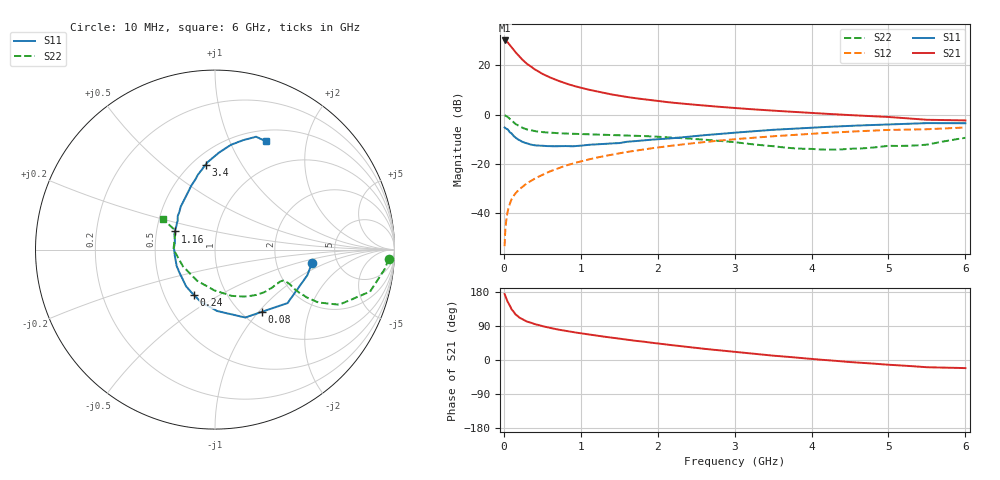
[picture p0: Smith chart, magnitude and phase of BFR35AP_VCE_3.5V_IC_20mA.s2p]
! Infineon Technologies  Discrete & RF Semiconductors
! BFR35AP
! VCE =  3.5 V,  IC =  20 mA
! Common Emitter S-Parameters:  Nov 2015
# GHz  S  MA  R  50
!  f  S11  S21  S12  S22
! GHz  MAG  ANG  MAG  ANG  MAG  ANG  MAG  ANG
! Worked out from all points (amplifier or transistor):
!   210 points, 10 MHz to 6 GHz, reference 50 ohm
!   highest |S21| = 30.1 dB at 10 MHz (marker M1)
!   |S21| within 3 dB of that: start of sweep to 107.9 MHz
!   unconditionally stable (mu >= 1): 391 MHz to 3.104 GHz
!   at 185 MHz: K = 0.74, MSG = 27.6 dB, |S12| = -30.9 dB
!   at 1.52 GHz: K = 1.11, MAG = 9.6 dB, |S12| = -15.7 dB
!   at 6 GHz: K = 0.95, MSG = 1.4 dB, |S12| = -5.3 dB
!   S11 on the Smith chart (normalised r, x): 10 MHz: 3.24, -0.68; 80 MHz: 1.22, -1.04; 240 MHz: 0.70, -0.39; 1.16 GHz: 0.62, +0.13; 3.4 GHz: 0.58, +0.71; 6 GHz: 0.63, +1.37
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0.01  0.5456 -7.8  32.17 174.2  0.0021 89.2  0.97 -3.0
0.02  0.5337 -15.6  31.7 168.4  0.0047 83.7  0.952 -6.5
0.05  0.5021 -36.4  29.47 153.2  0.0107 75.8  0.8949 -15.2
0.08  0.4346 -52.8  25.6 142.7  0.0156 71.5  0.8097 -20.1
0.1  0.4141 -66.0  23.62 134.0  0.0189 69.9  0.7567 -23.9
0.15  0.3426 -87.9  18.69 120.6  0.0248 66.3  0.6466 -27.1
0.2  0.3031 -104.9  15.21 112.2  0.03 66.6  0.5768 -27.5
0.24  0.2794 -114.6  13.14 107.5  0.0337 66.6  0.539 -27.2
0.3  0.2603 -128.2  10.78 101.4  0.0397 67.4  0.4984 -26.5
0.4  0.2372 -145.8  8.34 94.8  0.0494 69.2  0.4606 -24.9
0.5  0.2322 -156.9  6.738 89.2  0.059 70.2  0.4393 -24.3
0.7  0.2268 -176.3  4.922 80.5  0.0795 70.2  0.4178 -24.5
0.8  0.2287 176.8  4.315 76.8  0.0907 69.7  0.4109 -25.1
1.02  0.2348 163.0  3.45 69.9  0.1133 68.6  0.4008 -27.1
1.16  0.2455 155.7  3.069 65.8  0.128 67.5  0.3942 -29.0
1.6  0.2795 138.0  2.279 53.6  0.1731 63.3  0.3746 -35.9
2.02  0.3155 125.1  1.867 43.2  0.2159 58.9  0.3523 -43.8
3.1  0.4392 101.1  1.322 19.6  0.3239 45.6  0.2626 -73.5
3.4  0.4763 96.2  1.23 13.7  0.3519 41.7  0.2339 -86.1
4.1  0.5511 86.2  1.056 1.1  0.4153 32.4  0.1953 -126.2
5.1  0.6362 74.5  0.87 -13.7  0.4891 18.1  0.23 174.5
6  0.6664 64.9  0.76 -21.4  0.5458 7.6  0.3365 149.8
